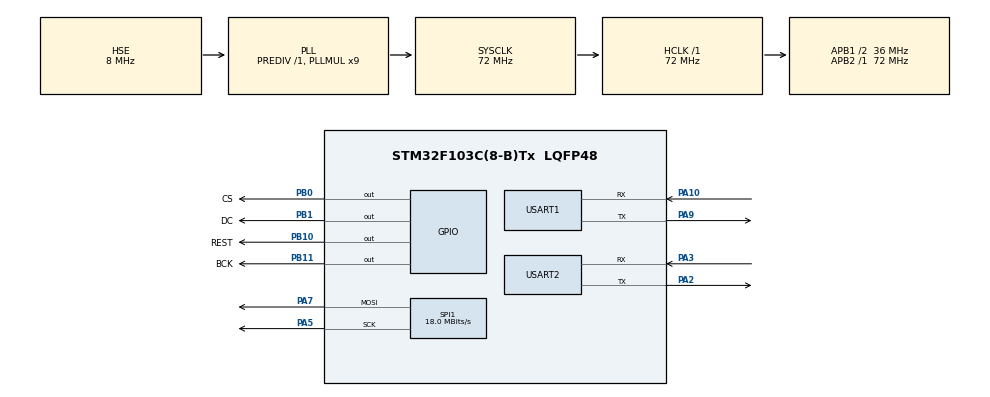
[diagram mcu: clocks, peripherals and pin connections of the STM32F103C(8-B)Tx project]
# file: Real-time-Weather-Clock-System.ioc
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Dma.Request0=USART2_RX
Dma.Request1=SPI1_TX
Dma.SPI1_TX.1.Direction=DMA_MEMORY_TO_PERIPH
Dma.SPI1_TX.1.Instance=DMA1_Channel3
Dma.SPI1_TX.1.MemDataAlignment=DMA_MDATAALIGN_BYTE
Dma.SPI1_TX.1.MemInc=DMA_MINC_ENABLE
Dma.SPI1_TX.1.Mode=DMA_CIRCULAR
Dma.SPI1_TX.1.PeriphDataAlignment=DMA_PDATAALIGN_BYTE
Dma.SPI1_TX.1.PeriphInc=DMA_PINC_DISABLE
Dma.SPI1_TX.1.Priority=DMA_PRIORITY_LOW
Dma.USART2_RX.0.Direction=DMA_PERIPH_TO_MEMORY
Dma.USART2_RX.0.Instance=DMA1_Channel6
Dma.USART2_RX.0.MemDataAlignment=DMA_MDATAALIGN_BYTE
Dma.USART2_RX.0.MemInc=DMA_MINC_ENABLE
Dma.USART2_RX.0.Mode=DMA_NORMAL
Dma.USART2_RX.0.PeriphDataAlignment=DMA_PDATAALIGN_BYTE
Dma.USART2_RX.0.PeriphInc=DMA_PINC_DISABLE
Dma.USART2_RX.0.Priority=DMA_PRIORITY_LOW
FREERTOS.CountingSemaphores01=LCD_refresh,2,Dynamic,NULL
FREERTOS.Queues01=Data_Parsing_queue,8,uint32_t,0,Dynamic,NULL,NULL
FREERTOS.Tasks01=defaultTask,24,128,StartDefaultTask,Default,NULL,Dynamic,NULL,NULL;ESP_communicati,10,128,ESP_communication,Default,NULL,Dynamic,NULL,NULL;LCD_communicati,12,128,LCD_communication,Default,NULL,Dynamic,NULL,NULL;Data_ParsingTas,11,128,Data_Parsing,Default,NULL,Dynamic,NULL,NULL
Mcu.Family=STM32F1
Mcu.Name=STM32F103C(8-B)Tx
Mcu.Package=LQFP48
NVIC.DMA1_Channel3_IRQn=true\:5\:0\:false\:false\:true\:true\:false\:true\:true
NVIC.DMA1_Channel6_IRQn=true\:5\:0\:false\:false\:true\:true\:false\:true\:true
NVIC.PriorityGroup=NVIC_PRIORITYGROUP_4
NVIC.TIM1_UP_IRQn=true\:15\:0\:false\:false\:true\:false\:false\:true\:true
NVIC.TimeBase=TIM1_UP_IRQn
NVIC.TimeBaseIP=TIM1
NVIC.USART2_IRQn=true\:5\:0\:false\:false\:true\:true\:true\:true\:true
PA10.Mode=Asynchronous
PA10.Signal=USART1_RX
PA13.Mode=Serial_Wire
PA13.Signal=SYS_JTMS-SWDIO
PA14.Mode=Serial_Wire
PA14.Signal=SYS_JTCK-SWCLK
PA2.Mode=Asynchronous
PA2.Signal=USART2_TX
PA3.Mode=Asynchronous
PA3.Signal=USART2_RX
PA5.Mode=TX_Only_Simplex_Unidirect_Master
PA5.Signal=SPI1_SCK
PA7.Mode=TX_Only_Simplex_Unidirect_Master
PA7.Signal=SPI1_MOSI
PA9.Mode=Asynchronous
PA9.Signal=USART1_TX
PB0.GPIO_Label=CS
PB0.Signal=GPIO_Output
PB1.GPIO_Label=DC
PB1.Signal=GPIO_Output
PB10.GPIO_Label=REST
PB10.Signal=GPIO_Output
PB11.GPIO_Label=BCK
PB11.PinState=GPIO_PIN_SET
PB11.Signal=GPIO_Output
PD0-OSC_IN.Mode=HSE-External-Oscillator
PD0-OSC_IN.Signal=RCC_OSC_IN
PD1-OSC_OUT.Mode=HSE-External-Oscillator
PD1-OSC_OUT.Signal=RCC_OSC_OUT
ProjectManager.HeapSize=0x200
ProjectManager.StackSize=0x400
ProjectManager.TargetToolchain=MDK-ARM V5.32
RCC.AHBFreq_Value=72000000
RCC.APB1CLKDivider=RCC_HCLK_DIV2
RCC.APB1Freq_Value=36000000
RCC.APB1TimFreq_Value=72000000
RCC.APB2Freq_Value=72000000
RCC.APB2TimFreq_Value=72000000
RCC.HCLKFreq_Value=72000000
RCC.PLLMUL=RCC_PLL_MUL9
RCC.PLLSourceVirtual=RCC_PLLSOURCE_HSE
RCC.SYSCLKFreq_VALUE=72000000
RCC.SYSCLKSource=RCC_SYSCLKSOURCE_PLLCLK
RCC.USBFreq_Value=72000000
SPI1.BaudRatePrescaler=SPI_BAUDRATEPRESCALER_4
SPI1.CalculateBaudRate=18.0 MBits/s
SPI1.Direction=SPI_DIRECTION_2LINES
SPI1.Mode=SPI_MODE_MASTER
SPI1.VirtualType=VM_MASTER
USART1.VirtualMode=VM_ASYNC
USART2.VirtualMode=VM_ASYNC
VP_FREERTOS_VS_CMSIS_V2.Mode=CMSIS_V2
VP_SYS_VS_tim1.Mode=TIM1
board=custom

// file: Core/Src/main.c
/* USER CODE BEGIN Header */
/**
  ******************************************************************************
  * @file           : main.c
  * @brief          : Main program body
  ******************************************************************************
  * @attention
  *
  * Copyright (c) 2026 STMicroelectronics.
  * All rights reserved.
  *
  * This software is licensed under terms that can be found in the LICENSE file
  * in the root directory of this software component.
  * If no LICENSE file comes with this software, it is provided AS-IS.
  *
  ******************************************************************************
  */
/* USER CODE END Header */
#include "main.h"
#include "cmsis_os.h"

/* USER CODE BEGIN Includes */
#include "ESP.h"
#include "msg_parse.h"
#include "st7735s.h"
#include <stdio.h>
/* USER CODE END Includes */

SPI_HandleTypeDef hspi1;
DMA_HandleTypeDef hdma_spi1_tx;

UART_HandleTypeDef huart1;
UART_HandleTypeDef huart2;
DMA_HandleTypeDef hdma_usart2_rx;

/* Definitions for defaultTask */
osThreadId_t defaultTaskHandle;
const osThreadAttr_t defaultTask_attributes = {
  .name = "defaultTask",
  .stack_size = 128 * 4,
  .priority = (osPriority_t) osPriorityNormal,
};
/* Definitions for ESP_communicati */
osThreadId_t ESP_communicatiHandle;
const osThreadAttr_t ESP_communicati_attributes = {
  .name = "ESP_communicati",
  .stack_size = 128 * 4,
  .priority = (osPriority_t) osPriorityLow2,
};
/* Definitions for LCD_communicati */
osThreadId_t LCD_communicatiHandle;
const osThreadAttr_t LCD_communicati_attributes = {
  .name = "LCD_communicati",
  .stack_size = 128 * 4,
  .priority = (osPriority_t) osPriorityLow4,
};
/* Definitions for Data_ParsingTas */
osThreadId_t Data_ParsingTasHandle;
const osThreadAttr_t Data_ParsingTas_attributes = {
  .name = "Data_ParsingTas",
  .stack_size = 128 * 4,
  .priority = (osPriority_t) osPriorityLow3,
};
/* Definitions for Data_Parsing_queue */
osMessageQueueId_t Data_Parsing_queueHandle;
const osMessageQueueAttr_t Data_Parsing_queue_attributes = {
  .name = "Data_Parsing_queue"
};
/* Definitions for LCD_refresh */
osSemaphoreId_t LCD_refreshHandle;
const osSemaphoreAttr_t LCD_refresh_attributes = {
  .name = "LCD_refresh"
};
/* USER CODE BEGIN PV */

/* USART2 DMA + IDLE æŽ¥æ”¶ç¼�?�å�?�²å�?? */
#define USART2_RX_BUF_SIZE  256
uint8_t  usart2_rx_buffer[USART2_RX_BUF_SIZE];
uint16_t usart2_rx_len = 0;

/* USER CODE END PV */

void SystemClock_Config(void);
static void MX_GPIO_Init(void);
static void MX_DMA_Init(void);
static void MX_USART1_UART_Init(void);
static void MX_USART2_UART_Init(void);
static void MX_SPI1_Init(void);
void StartDefaultTask(void *argument);
void ESP_communication(void *argument);
void LCD_communication(void *argument);
void Data_Parsing(void *argument);

/* USER CODE BEGIN 0 */
WeatherInfo_t weather_info;
/* USER CODE END 0 */

int main(void)
{

  /* MCU Configuration--------------------------------------------------------*/

  /* Reset of all peripherals, Initializes the Flash interface and the Systick. */
  HAL_Init();

  /* Configure the system clock */
  SystemClock_Config();

  /* Initialize all configured peripherals */
  MX_GPIO_Init();
  MX_DMA_Init();
  MX_USART1_UART_Init();
  MX_USART2_UART_Init();
  MX_SPI1_Init();
  /* USER CODE BEGIN 2 */

	ESP_Init();
  ST7735S_Init();
  /* USER CODE END 2 */

  /* Init scheduler */
  osKernelInitialize();

  /* Create the semaphores(s) */
  /* creation of LCD_refresh */
  LCD_refreshHandle = osSemaphoreNew(2, 2, &LCD_refresh_attributes);

  /* Create the queue(s) */
  /* creation of Data_Parsing_queue */
  Data_Parsing_queueHandle = osMessageQueueNew (8, sizeof(uint32_t), &Data_Parsing_queue_attributes);

  /* Create the thread(s) */
  /* creation of defaultTask */
  defaultTaskHandle = osThreadNew(StartDefaultTask, NULL, &defaultTask_attributes);

  /* creation of ESP_communicati */
  ESP_communicatiHandle = osThreadNew(ESP_communication, NULL, &ESP_communicati_attributes);

  /* creation of LCD_communicati */
  LCD_communicatiHandle = osThreadNew(LCD_communication, NULL, &LCD_communicati_attributes);

  /* creation of Data_ParsingTas */
  Data_ParsingTasHandle = osThreadNew(Data_Parsing, NULL, &Data_ParsingTas_attributes);

  /* Start scheduler */
  osKernelStart();

  /* We should never get here as control is now taken by the scheduler */

  /* Infinite loop */
  while (1)
  {

  }
}

void SystemClock_Config(void)
{
  RCC_OscInitTypeDef RCC_OscInitStruct = {0};
  RCC_ClkInitTypeDef RCC_ClkInitStruct = {0};

  /** Initializes the RCC Oscillators according to the specified parameters
  * in the RCC_OscInitTypeDef structure.
  */
  RCC_OscInitStruct.OscillatorType = RCC_OSCILLATORTYPE_HSE;
  RCC_OscInitStruct.HSEState = RCC_HSE_ON;
  RCC_OscInitStruct.HSEPredivValue = RCC_HSE_PREDIV_DIV1;
  RCC_OscInitStruct.HSIState = RCC_HSI_ON;
  RCC_OscInitStruct.PLL.PLLState = RCC_PLL_ON;
  RCC_OscInitStruct.PLL.PLLSource = RCC_PLLSOURCE_HSE;
  RCC_OscInitStruct.PLL.PLLMUL = RCC_PLL_MUL9;
  if (HAL_RCC_OscConfig(&RCC_OscInitStruct) != HAL_OK)
  {
    Error_Handler();
  }

  /** Initializes the CPU, AHB and APB buses clocks
  */
  RCC_ClkInitStruct.ClockType = RCC_CLOCKTYPE_HCLK|RCC_CLOCKTYPE_SYSCLK
                              |RCC_CLOCKTYPE_PCLK1|RCC_CLOCKTYPE_PCLK2;
  RCC_ClkInitStruct.SYSCLKSource = RCC_SYSCLKSOURCE_PLLCLK;
  RCC_ClkInitStruct.AHBCLKDivider = RCC_SYSCLK_DIV1;
  RCC_ClkInitStruct.APB1CLKDivider = RCC_HCLK_DIV2;
  RCC_ClkInitStruct.APB2CLKDivider = RCC_HCLK_DIV1;

  if (HAL_RCC_ClockConfig(&RCC_ClkInitStruct, FLASH_LATENCY_2) != HAL_OK)
  {
    Error_Handler();
  }
}

static void MX_SPI1_Init(void)
{

  /* SPI1 parameter configuration*/
  hspi1.Instance = SPI1;
  hspi1.Init.Mode = SPI_MODE_MASTER;
  hspi1.Init.Direction = SPI_DIRECTION_2LINES;
  hspi1.Init.DataSize = SPI_DATASIZE_8BIT;
  hspi1.Init.CLKPolarity = SPI_POLARITY_LOW;
  hspi1.Init.CLKPhase = SPI_PHASE_1EDGE;
  hspi1.Init.NSS = SPI_NSS_SOFT;
  hspi1.Init.BaudRatePrescaler = SPI_BAUDRATEPRESCALER_4;
  hspi1.Init.FirstBit = SPI_FIRSTBIT_MSB;
  hspi1.Init.TIMode = SPI_TIMODE_DISABLE;
  hspi1.Init.CRCCalculation = SPI_CRCCALCULATION_DISABLE;
  hspi1.Init.CRCPolynomial = 10;
  if (HAL_SPI_Init(&hspi1) != HAL_OK)
  {
    Error_Handler();
  }

}

static void MX_USART1_UART_Init(void)
{

  huart1.Instance = USART1;
  huart1.Init.BaudRate = 115200;
  huart1.Init.WordLength = UART_WORDLENGTH_8B;
  huart1.Init.StopBits = UART_STOPBITS_1;
  huart1.Init.Parity = UART_PARITY_NONE;
  huart1.Init.Mode = UART_MODE_TX_RX;
  huart1.Init.HwFlowCtl = UART_HWCONTROL_NONE;
  huart1.Init.OverSampling = UART_OVERSAMPLING_16;
  if (HAL_UART_Init(&huart1) != HAL_OK)
  {
    Error_Handler();
  }

}

static void MX_USART2_UART_Init(void)
{

  huart2.Instance = USART2;
  huart2.Init.BaudRate = 115200;
  huart2.Init.WordLength = UART_WORDLENGTH_8B;
  huart2.Init.StopBits = UART_STOPBITS_1;
  huart2.Init.Parity = UART_PARITY_NONE;
  huart2.Init.Mode = UART_MODE_TX_RX;
  huart2.Init.HwFlowCtl = UART_HWCONTROL_NONE;
  huart2.Init.OverSampling = UART_OVERSAMPLING_16;
  if (HAL_UART_Init(&huart2) != HAL_OK)
  {
    Error_Handler();
  }

}

static void MX_DMA_Init(void)
{

  /* DMA controller clock enable */
  __HAL_RCC_DMA1_CLK_ENABLE();

  /* DMA interrupt init */
  /* DMA1_Channel3_IRQn interrupt configuration */
  HAL_NVIC_SetPriority(DMA1_Channel3_IRQn, 5, 0);
  HAL_NVIC_EnableIRQ(DMA1_Channel3_IRQn);
  /* DMA1_Channel6_IRQn interrupt configuration */
  HAL_NVIC_SetPriority(DMA1_Channel6_IRQn, 5, 0);
  HAL_NVIC_EnableIRQ(DMA1_Channel6_IRQn);

}

static void MX_GPIO_Init(void)
{
  GPIO_InitTypeDef GPIO_InitStruct = {0};

  /* GPIO Ports Clock Enable */
  __HAL_RCC_GPIOD_CLK_ENABLE();
  __HAL_RCC_GPIOA_CLK_ENABLE();
  __HAL_RCC_GPIOB_CLK_ENABLE();

  /*Configure GPIO pin Output Level */
  HAL_GPIO_WritePin(GPIOB, CS_Pin|DC_Pin|REST_Pin, GPIO_PIN_RESET);

  /*Configure GPIO pin Output Level */
  HAL_GPIO_WritePin(BCK_GPIO_Port, BCK_Pin, GPIO_PIN_SET);

  /*Configure GPIO pins : CS_Pin DC_Pin REST_Pin BCK_Pin */
  GPIO_InitStruct.Pin = CS_Pin|DC_Pin|REST_Pin|BCK_Pin;
  GPIO_InitStruct.Mode = GPIO_MODE_OUTPUT_PP;
  GPIO_InitStruct.Pull = GPIO_NOPULL;
  GPIO_InitStruct.Speed = GPIO_SPEED_FREQ_LOW;
  HAL_GPIO_Init(GPIOB, &GPIO_InitStruct);

}

void StartDefaultTask(void *argument)
{
  for(;;)
  {
    osDelay(1);
  }
}

void ESP_communication(void *argument)
{
  /* USER CODE BEGIN ESP_communication */
  /* Infinite loop */
  for(;;)
  {

	  ESP_AT();

	  ESP_CWJAP("abc","12345678");

	  ESP_HTTP("http://api.seniverse.com/v3/weather/now.json?key=SLQecdOf7gZMznjA0&location=beijing&language=zh-Hans&unit=c");

//  osSemaphoreAcquire(LCD_refreshHandle, osWaitForever);
//  HAL_UART_Transmit(&huart1,(uint8_t*)weather_info.city,strlen(weather_info.city),100);
  osDelay(10000);

  }
 }
  /* USER CODE END ESP_communication */

void LCD_communication(void *argument)
{
  /* USER CODE BEGIN LCD_communication */

  /* Infinite loop */
  for(;;)
  {
	// ---- Initialize LCD ----

    // ---- Fill screen with colors ----
    ST7735S_DrawString(10, 80, "weather_info", ST7735S_WHITE, ST7735S_BLACK);
    ST7735S_DrawString(10, 90, "ST7735S 1.8\"", ST7735S_YELLOW, ST7735S_BLACK);
    ST7735S_DrawString(10, 100, weather_info.temp, ST7735S_GREEN, ST7735S_BLACK);
    osDelay(1000);
  }
  /* USER CODE END LCD_communication */
}

void Data_Parsing(void *argument)
{
  /* USER CODE BEGIN Data_Parsing */
  /* Infinite loop */
  for(;;)
  {
    ReceiveMessage();

    osDelay(100);
  }
  /* USER CODE END Data_Parsing */
}

void HAL_TIM_PeriodElapsedCallback(TIM_HandleTypeDef *htim)
{
  if (htim->Instance == TIM1)
  {
    HAL_IncTick();
  }
}

void Error_Handler(void)
{
  __disable_irq();
  while (1)
  {
  }
}
